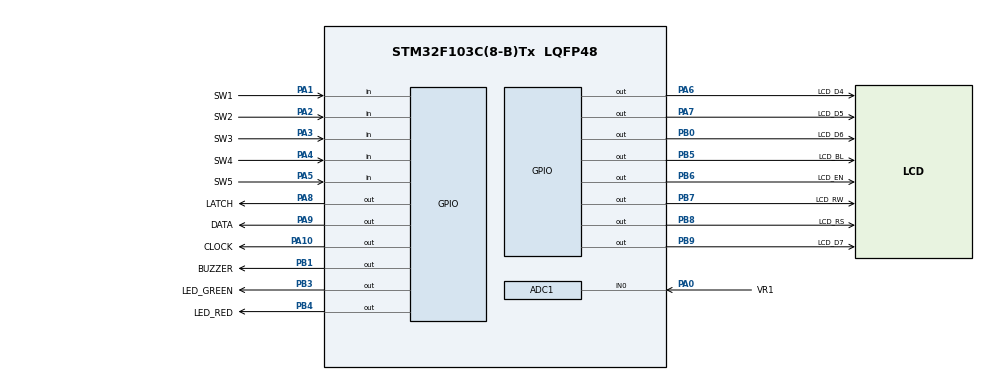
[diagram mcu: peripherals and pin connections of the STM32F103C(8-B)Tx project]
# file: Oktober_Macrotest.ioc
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ADC1.Channel-0\#ChannelRegularConversion=ADC_CHANNEL_0
ADC1.ContinuousConvMode=ENABLE
ADC1.NbrOfConversionFlag=1
ADC1.Rank-0\#ChannelRegularConversion=1
ADC1.SamplingTime-0\#ChannelRegularConversion=ADC_SAMPLETIME_1CYCLE_5
ADC1.master=1
Mcu.Family=STM32F1
Mcu.Name=STM32F103C(8-B)Tx
Mcu.Package=LQFP48
NVIC.PriorityGroup=NVIC_PRIORITYGROUP_4
PA0-WKUP.GPIO_Label=VR1
PA0-WKUP.Signal=ADCx_IN0
PA1.GPIO_Label=SW1
PA1.GPIO_Mode=GPIO_MODE_INPUT
PA1.GPIO_PuPd=GPIO_PULLUP
PA1.Signal=GPIO_Input
PA10.GPIO_Label=CLOCK
PA10.Signal=GPIO_Output
PA13.Mode=Serial_Wire
PA13.Signal=SYS_JTMS-SWDIO
PA14.Mode=Serial_Wire
PA14.Signal=SYS_JTCK-SWCLK
PA2.GPIO_Label=SW2
PA2.GPIO_Mode=GPIO_MODE_INPUT
PA2.GPIO_PuPd=GPIO_PULLUP
PA2.Signal=GPIO_Input
PA3.GPIO_Label=SW3
PA3.GPIO_Mode=GPIO_MODE_INPUT
PA3.GPIO_PuPd=GPIO_PULLUP
PA3.Signal=GPIO_Input
PA4.GPIO_Label=SW4
PA4.GPIO_Mode=GPIO_MODE_INPUT
PA4.GPIO_PuPd=GPIO_PULLUP
PA4.Signal=GPIO_Input
PA5.GPIO_Label=SW5
PA5.GPIO_Mode=GPIO_MODE_INPUT
PA5.GPIO_PuPd=GPIO_PULLUP
PA5.Signal=GPIO_Input
PA6.GPIO_Label=LCD_D4
PA6.Signal=GPIO_Output
PA7.GPIO_Label=LCD_D5
PA7.Signal=GPIO_Output
PA8.GPIO_Label=LATCH
PA8.Signal=GPIO_Output
PA9.GPIO_Label=DATA
PA9.Signal=GPIO_Output
PB0.GPIO_Label=LCD_D6
PB0.Signal=GPIO_Output
PB1.GPIO_Label=BUZZER
PB1.Signal=GPIO_Output
PB3.GPIO_Label=LED_GREEN
PB3.Signal=GPIO_Output
PB4.GPIO_Label=LED_RED
PB4.Signal=GPIO_Output
PB5.GPIO_Label=LCD_BL
PB5.Signal=GPIO_Output
PB6.GPIO_Label=LCD_EN
PB6.Signal=GPIO_Output
PB7.GPIO_Label=LCD_RW
PB7.Signal=GPIO_Output
PB8.GPIO_Label=LCD_RS
PB8.Signal=GPIO_Output
PB9.GPIO_Label=LCD_D7
PB9.Signal=GPIO_Output
PD0-OSC_IN.Mode=HSE-External-Oscillator
PD0-OSC_IN.Signal=RCC_OSC_IN
PD1-OSC_OUT.Mode=HSE-External-Oscillator
PD1-OSC_OUT.Signal=RCC_OSC_OUT
ProjectManager.HeapSize=0x200
ProjectManager.StackSize=0x400
ProjectManager.TargetToolchain=STM32CubeIDE
RCC.ADCPresc=RCC_ADCPCLK2_DIV6
RCC.AHBFreq_Value=72000000
RCC.APB1CLKDivider=RCC_HCLK_DIV2
RCC.APB1Freq_Value=36000000
RCC.APB1TimFreq_Value=72000000
RCC.APB2Freq_Value=72000000
RCC.APB2TimFreq_Value=72000000
RCC.HCLKFreq_Value=72000000
RCC.PLLMUL=RCC_PLL_MUL9
RCC.PLLSourceVirtual=RCC_PLLSOURCE_HSE
RCC.SYSCLKFreq_VALUE=72000000
RCC.SYSCLKSource=RCC_SYSCLKSOURCE_PLLCLK
RCC.USBFreq_Value=72000000
SH.ADCx_IN0.0=ADC1_IN0,IN0
board=custom

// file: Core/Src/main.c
/* USER CODE BEGIN Header */
/*
 * Maulana at STM32@
 *
 */
/* USER CODE END Header */
#include "main.h"

/* USER CODE BEGIN Includes */

#include "stdio.h"
#include "myLCD.h"

/* USER CODE END Includes */

/* USER CODE BEGIN PTD */

typedef uint8_t u8;
typedef uint16_t u16;
typedef uint32_t u32;
typedef int8_t i8;
typedef int16_t i16;
typedef int32_t i32;

//conditioning
u8 sw5stsnow = 0;
u8 trainconnow = 0;

/* USER CODE END PTD */

/* USER CODE BEGIN PD */

#define SW(x) (HAL_GPIO_ReadPin(SW##x##_GPIO_Port, SW##x##_Pin))
#define GPIO_WRITE_PIN(g, x) HAL_GPIO_WritePin(g##_GPIO_Port, g##_Pin, x)

#define CLOCK(x) GPIO_WRITE_PIN(CLOCK, x)
#define LATCH(x) GPIO_WRITE_PIN(LATCH, x)
#define DATA(x) GPIO_WRITE_PIN(DATA, x)
#define BUZZER(x) if(mute)GPIO_WRITE_PIN(BUZZER, x)
#define RED(x) GPIO_WRITE_PIN(LED_RED, !x)
#define GREEN(x) GPIO_WRITE_PIN(LED_GREEN, !x)

/* USER CODE END PD */

ADC_HandleTypeDef hadc1;

/* USER CODE BEGIN PV */

_Bool mute = 0, switchpressed[5] = { 0 }, erasecon = 0, brk, nsw[5] = { 0, 0, 0,
  0, 0 };
u8 menu = 1, mainmenu = 1, settings = 1, traincolortype, traingo, trainstop,
  traincon;
u16 dttrain16[4];
u32 sw5timer, eraset, timersec, traincolor[5] = { 0 }, dttrain32;
char lcd_buffer[32];

/* USER CODE END PV */

void SystemClock_Config (void);
static void MX_GPIO_Init (void);
static void MX_ADC1_Init (void);

/* USER CODE BEGIN PFP */

void sw5ck ();
void trsrt (u8, _Bool, _Bool, u8);
void bkm1 ();
void senddt (u8, u8);
void ledtrstr ();
void allbtnfunc ();
u16 adcvreader ();

/* USER CODE END PFP */

int main (void){
 /* MCU Configuration--------------------------------------------------------*/
 /* Reset of all peripherals, Initializes the Flash interface and the Systick. */

 HAL_Init();
 /* Configure the system clock */
 SystemClock_Config();
 /* Initialize all configured peripherals */
 MX_GPIO_Init();
 MX_ADC1_Init();
 /* USER CODE BEGIN 2 */
 // greeting awal
 RED(0);
 GREEN(0);
 senddt(1, -1);
 senddt(2, -1);
 LCD_Init();
 LCD_SetBacklight(1);
 LCD_SetCursor(0, 0);
 LCD_Print("------TEMPLATE------");
 LCD_SetCursor(0, 1);
 LCD_Print(" LKS PROVINSI 2023  ");
 HAL_Delay(3000);
 /* USER CODE END 2 */
 /* Infinite loop */
 /* USER CODE BEGIN WHILE */
 while (1){
  allbtnfunc();
  switch (mainmenu){
   case 1:
    senddt(1, -1);
    senddt(2, -1);
    RED(0);
    GREEN(0);
    switch (menu){
     case 1:
      bkm1();
      LCD_SetCursor(0, 2);
      LCD_Print("[MANUAL            ]");
      LCD_SetCursor(0, 3);
      LCD_Print("                 1/3");
      break;
     case 2:
      bkm1();
      LCD_SetCursor(0, 2);
      LCD_Print("[REPORT            ]");
      LCD_SetCursor(0, 3);
      LCD_Print("                 2/3");
      break;
     case 3:
      bkm1();
      LCD_SetCursor(0, 2);
      LCD_Print("[SETTINGS          ]");
      LCD_SetCursor(0, 3);
      LCD_Print("                 3/3");
      break;
    }
    break;
   case 2:
    ledtrstr();
    LCD_SetCursor(0, 3);
    sprintf(lcd_buffer, "%3lu", traincolor[0]);
    LCD_Print(lcd_buffer);
    LCD_SetCursor(4, 3);
    sprintf(lcd_buffer, "%3lu", traincolor[1]);
    LCD_Print(lcd_buffer);
    LCD_SetCursor(8, 3);
    sprintf(lcd_buffer, "%3lu", traincolor[2]);
    LCD_Print(lcd_buffer);
    LCD_SetCursor(12, 3);
    sprintf(lcd_buffer, "%3lu", traincolor[3]);
    LCD_Print(lcd_buffer);
    LCD_SetCursor(16, 3);
    sprintf(lcd_buffer, "%4lu", traincolor[4]);
    LCD_Print(lcd_buffer);
    break;
   case 3:
    sw5ck();
    LCD_SetCursor(0, 0);
    LCD_Print("   STATION REPORT   ");
    LCD_SetCursor(0, 1);
    sprintf(lcd_buffer, "UPTIME:%3lumin%3lusec", (uwTick / 60000) % 60,
      uwTick / 1000 % 60);
    LCD_Print(lcd_buffer);
    LCD_SetCursor(0, 2);
    sprintf(lcd_buffer, "RED:%-3lu", traincolor[0]);
    LCD_Print(lcd_buffer);
    LCD_SetCursor(0, 3);
    sprintf(lcd_buffer, "GRN:%-3lu", traincolor[1]);
    LCD_Print(lcd_buffer);
    LCD_SetCursor(7, 2);
    sprintf(lcd_buffer, "BLU:%-3lu", traincolor[2]);
    LCD_Print(lcd_buffer);
    LCD_SetCursor(7, 3);
    sprintf(lcd_buffer, "WHT:%-3lu", traincolor[3]);
    LCD_Print(lcd_buffer);
    LCD_SetCursor(14, 2);
    sprintf(lcd_buffer, "DFC:%-2lu", traincolor[4]);
    LCD_Print(lcd_buffer);
    if (uwTick - eraset >= 500){
     eraset = uwTick;
     if (erasecon == 0){
      erasecon = 1;
     }else{
      erasecon = 0;
     }
    }
    if (erasecon == 1){
     LCD_SetCursor(14, 3);
     LCD_Print("ERASE?");
    }else{
     LCD_SetCursor(14, 3);
     LCD_Print("      ");
    }
    break;
   case 4:
    LCD_SetCursor(0, 0);
    LCD_Print("  STATION SETTINGS  ");
    LCD_SetCursor(0, 1);
    LCD_Print("====================");
    if (HAL_GPIO_ReadPin(LCD_BL_GPIO_Port, LCD_BL_Pin) == 1){
     LCD_SetCursor(3, 2);
     LCD_Print("BACKLIGHT: ON    ");
    }else{
     LCD_SetCursor(3, 2);
     LCD_Print("BACKLIGHT: OFF   ");
    }
    if (mute == 0){
     LCD_SetCursor(3, 3);
     LCD_Print("MUTE MODE: ON    ");
    }else{
     LCD_SetCursor(3, 3);
     LCD_Print("MUTE MODE: OFF   ");
    }
    // cursor
    switch (settings){
     case 1:
      LCD_SetCursor(0, 2);
      LCD_Print("=> ");
      LCD_SetCursor(0, 3);
      LCD_Print("   ");
      break;
     case 2:
      LCD_SetCursor(0, 2);
      LCD_Print("   ");
      LCD_SetCursor(0, 3);
      LCD_Print("=> ");
      break;
    }
    break;
  }
  /* USER CODE END WHILE */

 }
}

void SystemClock_Config (void){
 RCC_OscInitTypeDef RCC_OscInitStruct = { 0 };
 RCC_ClkInitTypeDef RCC_ClkInitStruct = { 0 };
 RCC_PeriphCLKInitTypeDef PeriphClkInit = { 0 };

 /** Initializes the RCC Oscillators according to the specified parameters
  * in the RCC_OscInitTypeDef structure.
  */
 RCC_OscInitStruct.OscillatorType = RCC_OSCILLATORTYPE_HSE;
 RCC_OscInitStruct.HSEState = RCC_HSE_ON;
 RCC_OscInitStruct.HSEPredivValue = RCC_HSE_PREDIV_DIV1;
 RCC_OscInitStruct.HSIState = RCC_HSI_ON;
 RCC_OscInitStruct.PLL.PLLState = RCC_PLL_ON;
 RCC_OscInitStruct.PLL.PLLSource = RCC_PLLSOURCE_HSE;
 RCC_OscInitStruct.PLL.PLLMUL = RCC_PLL_MUL9;
 if (HAL_RCC_OscConfig(&RCC_OscInitStruct) != HAL_OK){
  Error_Handler();
 }

 /** Initializes the CPU, AHB and APB buses clocks
  */
 RCC_ClkInitStruct.ClockType = RCC_CLOCKTYPE_HCLK | RCC_CLOCKTYPE_SYSCLK
   | RCC_CLOCKTYPE_PCLK1 | RCC_CLOCKTYPE_PCLK2;
 RCC_ClkInitStruct.SYSCLKSource = RCC_SYSCLKSOURCE_PLLCLK;
 RCC_ClkInitStruct.AHBCLKDivider = RCC_SYSCLK_DIV1;
 RCC_ClkInitStruct.APB1CLKDivider = RCC_HCLK_DIV2;
 RCC_ClkInitStruct.APB2CLKDivider = RCC_HCLK_DIV1;

 if (HAL_RCC_ClockConfig(&RCC_ClkInitStruct, FLASH_LATENCY_2) != HAL_OK){
  Error_Handler();
 }
 PeriphClkInit.PeriphClockSelection = RCC_PERIPHCLK_ADC;
 PeriphClkInit.AdcClockSelection = RCC_ADCPCLK2_DIV6;
 if (HAL_RCCEx_PeriphCLKConfig(&PeriphClkInit) != HAL_OK){
  Error_Handler();
 }
}

static void MX_ADC1_Init (void){

 ADC_ChannelConfTypeDef sConfig = { 0 };

 /** Common config
  */
 hadc1.Instance = ADC1;
 hadc1.Init.ScanConvMode = ADC_SCAN_DISABLE;
 hadc1.Init.ContinuousConvMode = ENABLE;
 hadc1.Init.DiscontinuousConvMode = DISABLE;
 hadc1.Init.ExternalTrigConv = ADC_SOFTWARE_START;
 hadc1.Init.DataAlign = ADC_DATAALIGN_RIGHT;
 hadc1.Init.NbrOfConversion = 1;
 if (HAL_ADC_Init(&hadc1) != HAL_OK){
  Error_Handler();
 }

 /** Configure Regular Channel
  */
 sConfig.Channel = ADC_CHANNEL_0;
 sConfig.Rank = ADC_REGULAR_RANK_1;
 sConfig.SamplingTime = ADC_SAMPLETIME_1CYCLE_5;
 if (HAL_ADC_ConfigChannel(&hadc1, &sConfig) != HAL_OK){
  Error_Handler();
 }
}

static void MX_GPIO_Init (void){
 GPIO_InitTypeDef GPIO_InitStruct = { 0 };

 /* GPIO Ports Clock Enable */
 __HAL_RCC_GPIOD_CLK_ENABLE();
 __HAL_RCC_GPIOA_CLK_ENABLE();
 __HAL_RCC_GPIOB_CLK_ENABLE();

 /*Configure GPIO pin Output Level */
 HAL_GPIO_WritePin(GPIOA,
 LCD_D4_Pin | LCD_D5_Pin | LATCH_Pin | DATA_Pin | CLOCK_Pin, GPIO_PIN_RESET);

 /*Configure GPIO pin Output Level */
 HAL_GPIO_WritePin(GPIOB,
   LCD_D6_Pin | BUZZER_Pin | LED_GREEN_Pin | LED_RED_Pin | LCD_BL_Pin
     | LCD_EN_Pin | LCD_RW_Pin | LCD_RS_Pin | LCD_D7_Pin, GPIO_PIN_RESET);

 /*Configure GPIO pins : SW1_Pin SW2_Pin SW3_Pin SW4_Pin
  SW5_Pin */
 GPIO_InitStruct.Pin = SW1_Pin | SW2_Pin | SW3_Pin | SW4_Pin | SW5_Pin;
 GPIO_InitStruct.Mode = GPIO_MODE_INPUT;
 GPIO_InitStruct.Pull = GPIO_PULLUP;
 HAL_GPIO_Init(GPIOA, &GPIO_InitStruct);

 /*Configure GPIO pins : LCD_D4_Pin LCD_D5_Pin LATCH_Pin DATA_Pin
  CLOCK_Pin */
 GPIO_InitStruct.Pin = LCD_D4_Pin | LCD_D5_Pin | LATCH_Pin | DATA_Pin
   | CLOCK_Pin;
 GPIO_InitStruct.Mode = GPIO_MODE_OUTPUT_PP;
 GPIO_InitStruct.Pull = GPIO_NOPULL;
 GPIO_InitStruct.Speed = GPIO_SPEED_FREQ_LOW;
 HAL_GPIO_Init(GPIOA, &GPIO_InitStruct);

 /*Configure GPIO pins : LCD_D6_Pin BUZZER_Pin LED_GREEN_Pin LED_RED_Pin
  LCD_BL_Pin LCD_EN_Pin LCD_RW_Pin LCD_RS_Pin
  LCD_D7_Pin */
 GPIO_InitStruct.Pin = LCD_D6_Pin | BUZZER_Pin | LED_GREEN_Pin | LED_RED_Pin
   | LCD_BL_Pin | LCD_EN_Pin | LCD_RW_Pin | LCD_RS_Pin | LCD_D7_Pin;
 GPIO_InitStruct.Mode = GPIO_MODE_OUTPUT_PP;
 GPIO_InitStruct.Pull = GPIO_NOPULL;
 GPIO_InitStruct.Speed = GPIO_SPEED_FREQ_LOW;
 HAL_GPIO_Init(GPIOB, &GPIO_InitStruct);

}

/* USER CODE BEGIN 4 */

// fungsi pengecek kondisi sw5 di dalam reset menu pengaturan
void sw5ck (){
 switch (sw5stsnow){
  case 0:
   if (SW(5) == GPIO_PIN_RESET){
    sw5stsnow = 1;
   }
   break;
  case 1:
   if (uwTick - timersec >= 1000){
    timersec = uwTick;
    sw5timer++;
   }
   if (SW(5) == GPIO_PIN_SET){
    sw5stsnow = 2;
   }
   break;
  case 2:
   if (sw5timer >= 3){
    uwTick = 0;
    for (uint8_t i = 0; i < 5; i++){
     traincolor[i] = 0;
    }
   }else{
    mainmenu = 1;
   }
   sw5stsnow = 0;
   sw5timer = 0;
   break;
  default:
   break;
 }
}

/*func penyingkat jalan kereta (stopplc = destinasi akhir, red & grn =
 menghidupkan/mematikan led, which tr= warnakereta yang digunakan)*/
void trsrt (u8 stopplc, _Bool REDb, _Bool GRNb, uint8_t whichtr){
 if (traingo <= stopplc){
  senddt(1, traingo);
  traingo++;
  BUZZER(mute);
  uint16_t temp = 100 + adcvreader();
  for (int i = 0; i < temp; i++){
   allbtnfunc();
   HAL_Delay(1);
  }
  BUZZER(0);
 }else{
  traingo = 0;
  trainconnow = 0;
  RED(REDb);
  GREEN(GRNb);
  traincolortype = 0;
  senddt(1, -1);
  senddt(2, stopplc);
  traincolor[whichtr]++;
  for (int i = 0; i < 3000; i++){
   allbtnfunc();
   HAL_Delay(1);
  }
  senddt(2, -1);
  RED(0);
  GREEN(0);
 }
}

void bkm1 (){
 LCD_SetCursor(0, 0);
 LCD_Print("  SORTING  STATION  ");
 LCD_SetCursor(0, 1);
 LCD_Print("  SELECT OPERATION  ");
}

void senddt (uint8_t line, uint8_t posisi){

 if (line == 1){
  dttrain16[1] = 1 << (15 - posisi);
 }
 if (line == 2){
  dttrain16[2] = 1 << (posisi);
 }
 for (uint8_t i = 0; i < 32; i++){
  DATA(!(((dttrain16[1] << 16 | dttrain16[2]) >> i) & 1));
  CLOCK(0);
  CLOCK(1);
 }
 LATCH(1);
 LATCH(0);
}

void ledtrstr (){
 switch (trainconnow){
  case 0:
   if (traingo <= 4){
    senddt(1, traingo);
    traingo++;
    BUZZER(1);
    uint16_t temp = 100 + adcvreader();
    for (int i = 0; i < temp; i++){
     allbtnfunc();
     HAL_Delay(1);
    }
    BUZZER(0);
   }else{
    trainconnow = 1;
   }
   break;
  case 1:
   for (int i = 0; i < 3000; i++){
    brk = 0;
    allbtnfunc();
    if (brk){
     break;
    }
    HAL_Delay(1);
   }
   if (traincolortype == 0){
    for (int i = 0; i < 3; i++){
     BUZZER(mute);
     RED(1);
     for (int i = 0; i < 400; i++){
      HAL_Delay(1);
      if (mainmenu != 2){
       break;
      }
     }
     BUZZER(0);
     RED(0);
     for (int i = 0; i < 200; i++){
      HAL_Delay(1);
      if (mainmenu != 2){
       break;
      }
     }
    }
   }
   trainconnow = 2;
   break;
  case 2:
   switch (traincolortype){
    case 0:
     trsrt(15, 0, 0, 4);
     break;
    case 1:
     trsrt(6, 1, 0, 0);
     break;
    case 2:
     trsrt(8, 0, 1, 1);
     break;
    case 3:
     trsrt(10, 1, 1, 2);
     break;
    case 4:
     trsrt(13, 0, 0, 3);
     break;
   }
   break;
 }
}

void allbtnfunc (){

 // f5
 if (!SW(5) && !nsw[5]){
  BUZZER(1);
  HAL_Delay(100);
  BUZZER(0);
  switch (mainmenu){
   case 1:
    switch (menu){
     case 1:
      mainmenu = 2;
      LCD_SetCursor(0, 0);
      LCD_Print("    MANUAL  MODE    ");
      LCD_SetCursor(0, 1);
      LCD_Print("====================");
      LCD_SetCursor(0, 2);
      LCD_Print("RED GRN BLU WHT DFCT");
      LCD_SetCursor(0, 3);
      sprintf(lcd_buffer, "%3lu", traincolor[0]);
      LCD_Print(lcd_buffer);
      LCD_SetCursor(4, 3);
      sprintf(lcd_buffer, "%3lu", traincolor[1]);
      LCD_Print(lcd_buffer);
      LCD_SetCursor(8, 3);
      sprintf(lcd_buffer, "%3lu", traincolor[2]);
      LCD_Print(lcd_buffer);
      LCD_SetCursor(12, 3);
      sprintf(lcd_buffer, "%3lu", traincolor[3]);
      LCD_Print(lcd_buffer);
      LCD_SetCursor(16, 3);
      sprintf(lcd_buffer, "%4lu", traincolor[4]);
      LCD_Print(lcd_buffer);
      break;
     case 2:
      mainmenu = 3;
      break;
     case 3:
      mainmenu = 4;
      break;
    }
    traingo = 0;
    traincon = 0;
    trainconnow = 0;
    break;
   case 2:
    bkm1();
    mainmenu = 1;
    brk = 1;
    LCD_SetCursor(0, 2);
    LCD_Print("[MANUAL            ]");
    LCD_SetCursor(0, 3);
    LCD_Print("                 1/3");
    break;
   case 4:
    bkm1();
    mainmenu = 1;
    LCD_SetCursor(0, 2);
    LCD_Print("[SETTINGS          ]");
    LCD_SetCursor(0, 3);
    LCD_Print("                 3/3");
    break;
  }

  nsw[5] = 1;
 }
 if (SW(5) && nsw[5]){
  nsw[5] = 0;
 }
 // end f5

 // f4
 if (!SW(4) && !nsw[4]){
  BUZZER(1);
  HAL_Delay(100);
  BUZZER(0);
  switch (mainmenu){
   case 1:
    menu++;
    if (menu == 4){
     menu = 1;
    }
    break;
   case 2:
    switch (trainconnow){
     case 1:
      traincolortype = 4;
      RED(0);
      GREEN(0);
      break;
     default:
      break;
    }
    break;
   case 4:
    switchpressed[4] = 0;
    if (settings == 2){
     settings = 1;
    }else{
     settings = 2;
    }
    break;
  }
  nsw[4] = 1;
 }
 if (SW(4) && nsw[4]){
  nsw[4] = 0;
 }
 // end f4

 // f3
 if (!SW(3) && !nsw[3]){
  BUZZER(1);
  HAL_Delay(100);
  BUZZER(0);
  switch (mainmenu){
   case 1:
    menu--;
    if (menu == 0){
     menu = 3;
    }
    break;
   case 2:
    switch (trainconnow){
     case 1:
      traincolortype = 3;
      RED(1);
      GREEN(1);
      break;
     default:
      break;
    }
    break;
   case 4:
    if (settings == 1){
     settings = 2;
    }else{
     settings = 1;
    }
    break;
  }
  nsw[3] = 1;
 }
 if (SW(3) && nsw[3]){
  nsw[3] = 0;
 }
 // end f3

 // f2
 if (!SW(2) && !nsw[2]){
  BUZZER(1);
  HAL_Delay(100);
  BUZZER(0);
  switch (mainmenu){
   case 2:
    switch (trainconnow){
     case 1:
      traincolortype = 2;
      RED(0);
      GREEN(1);
      break;
     default:
      break;
    }
    break;
   case 4:
    if (settings == 1 && HAL_GPIO_ReadPin(LCD_BL_GPIO_Port, LCD_BL_Pin) == 1){
     LCD_SetBacklight(0);
    }else if (settings == 1
      && HAL_GPIO_ReadPin(LCD_BL_GPIO_Port, LCD_BL_Pin) == 0){
     LCD_SetBacklight(1);
    }
    if (settings == 2 && mute == 0){
     mute = 1;
    }else if (settings == 2 && mute == 1){
     mute = 0;
    }
    break;
  }
  nsw[2] = 1;
 }
 if (SW(2) && nsw[2]){
  nsw[2] = 0;
 }
 // endf2

 // f1
 if (!SW(1) && !nsw[1]){
  switch (mainmenu){
   case 2:
    switch (trainconnow){
     case 1:
      traincolortype = 1;
      RED(1);
      GREEN(0);
      break;
     default:
      break;
    }
    break;
  }
  nsw[1] = 1;
 }
 if (SW(1) && nsw[1]){
  nsw[1] = 0;
 }
}

u16 adcvreader (){
 u16 adcv = 100;
 HAL_ADC_Start(&hadc1);
 HAL_ADC_PollForConversion(&hadc1, 100);
 adcv = +HAL_ADC_GetValue(&hadc1);
 HAL_ADC_Stop(&hadc1);
 return adcv;
}

/* USER CODE END 4 */

void Error_Handler (void){
 /* USER CODE BEGIN Error_Handler_Debug */
 /* User can add his own implementation to report the HAL error return state */
 __disable_irq();
 while (1){
  LCD_Print("CERR");
 }
 /* USER CODE END Error_Handler_Debug */
}
